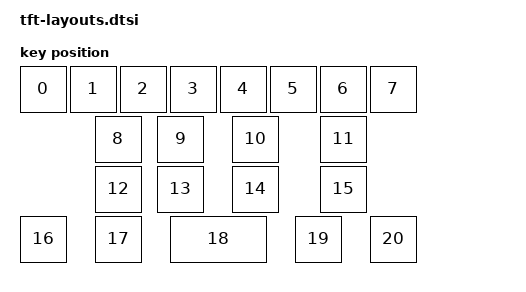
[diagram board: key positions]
#include "physical_layouts.dtsi"

/ {
    layout_0: layout_0 {
        compatible = "zmk,physical-layout";
        display-name = "LAYOUT";

        kscan = <&kscan0>;
        transform = <&default_transform>;

        keys  //                     w   h    x    y     rot    rx    ry
            = <&key_physical_attrs 100 100    0    0      0     0     0>
            , <&key_physical_attrs 100 100  100    0      0     0     0>
            , <&key_physical_attrs 100 100  200    0      0     0     0>
            , <&key_physical_attrs 100 100  300    0      0     0     0>
            , <&key_physical_attrs 100 100  400    0      0     0     0>
            , <&key_physical_attrs 100 100  500    0      0     0     0>
            , <&key_physical_attrs 100 100  600    0      0     0     0>
            , <&key_physical_attrs 100 100  700    0      0     0     0>
            , <&key_physical_attrs 100 100  150   100     0     0     0>
            , <&key_physical_attrs 100 100  275   100     0     0     0>
            , <&key_physical_attrs 100 100  425   100     0     0     0>
            , <&key_physical_attrs 100 100  600   100     0     0     0>
            , <&key_physical_attrs 100 100  150   200     0     0     0>
            , <&key_physical_attrs 100 100  275   200     0     0     0>
            , <&key_physical_attrs 100 100  425   200     0     0     0>
            , <&key_physical_attrs 100 100  600   200     0     0     0>
            , <&key_physical_attrs 100 100   0    300     0     0     0>
            , <&key_physical_attrs 100 100  150   300     0     0     0>
            , <&key_physical_attrs 200 100  300   300     0     0     0>
            , <&key_physical_attrs 100 100  550   300     0     0     0>
            , <&key_physical_attrs 100 100  700   300     0     0     0>
            ;
    };
 
    tft_position_map {
        compatible = "zmk,physical-layout-position-map";

        complete;

        LAYOUT {
            physical-layout = <&layout_0>;
            positions
                = < 0   1   2   3   4   5   6   7   >
                , <     8   9       10  11          >
                , <     12  13      14  15          >
                , < 16  17      18      19      20  >;
        };
    };
};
